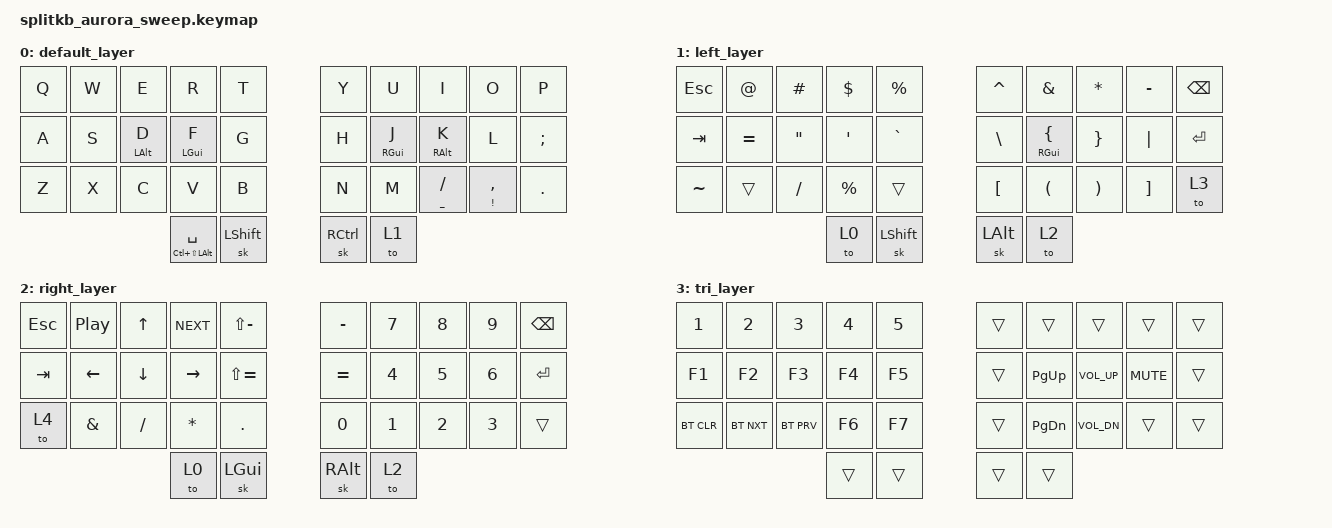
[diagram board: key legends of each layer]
/*
 * Copyright (c) 2022 The ZMK Contributors
 *
 * SPDX-License-Identifier: MIT
 */

#include <behaviors.dtsi>
#include <dt-bindings/zmk/keys.h>
#include <dt-bindings/zmk/bt.h>


&mt {
    flavor = "tap-preferred";
    tapping_term_ms = <200>;
};

/ {
    behaviors {
        hm: homerow_mods {
            compatible = "zmk,behavior-hold-tap";
            label = "HOMEROW_MODS";
            #binding-cells = <2>;
            tapping-term-ms = <200>;
            quick_tap_ms = <0>;
            flavor = "tap-preferred";
            bindings = <&kp>, <&kp>;
        };
        td: tapdance {
            compatible = "zmk,behavior-hold-tap";
            label = "TAPDANCE";
            #binding-cells = <2>;
            tapping-term-ms = <150>;
            quick_tap_ms = <0>;
            flavor = "tap-preferred";
            bindings = <&kp>, <&kp>;
        };
    };

    combos {
        compatible = "zmk,combos";
        combo_esc {
            timeout-ms = <50>;
            key-positions = <0 1>;
            bindings = <&kp ESC>;
        };

        combo_tab {
            timeout-ms = <50>;
            key-positions = <10 11>;
            bindings = <&kp TAB>;
        };

        combo_ralt {
            timeout-ms = <50>;
            key-positions = <17 16>;
            bindings = <&kp RALT>;
        };

        combo_lalt {
            timeout-ms = <50>;
            key-positions = <11 12>;
            bindings = <&kp LALT>;
        };

        combo_lgui {
            timeout-ms = <50>;
            key-positions = <12 13>;
            bindings = <&kp LGUI>;
        };


        combo_rgui {
            timeout-ms = <50>;
            key-positions = <17 18>;
            bindings = <&kp RGUI>;
        };



    };

        keymap {
            compatible = "zmk,keymap";

            default_layer {
        bindings = <
        //╭──────────┬──────────┬──────────┬──────────┬──────────╮   ╭──────────┬──────────┬────────────────────┬──────────────┬───────────────╮
        //│  Q       │  W       │  E       │  R       │  T       │   │  Y       │  U       │         I          │      O       │       P       │
            &kp Q      &kp W      &kp E      &kp R      &kp T          &kp Y      &kp U             &kp I             &kp O      &kp P
        //├──────────┼──────────┼──────────┼──────────┼──────────┤   ├──────────┼──────────┼────────────────────┼──────────────┼───────────────┤
        //│  A       │  S       │  ALT  D  │  GUI  F  │  G       │   │  H       │  GUI  J  │       ALT  K       │      L       │     ;         │
            &kp A      &kp S     &hm LALT D &hm LGUI F  &kp G          &kp H     &hm RGUI J       &hm RALT K          &kp L      &kp SEMICOLON
        //├──────────┼──────────┼──────────┼──────────┼──────────┤   ├──────────┼──────────┼────────────────────┼──────────────┼───────────────┤
        //│  Z       │  X       │  C       │    V     │    B     │   │    N     │    M     │      _ /           │    !  ,  <   │      . >      │
            &kp Z      &kp X      &kp C      &kp V      &kp B          &kp N      &kp M     &td UNDERSCORE SLASH &td EXCL COMMA     &kp DOT
        //╰──────────┴──────────┴──────────┴──────────┼──────────┤   ├──────────┼──────────┼────────────────────┴──────────────┴───────────────╯
        //                      │          MEH        │  SHIFT   │   │  Control │ Layer 1 │
                                &mt LC(LS(LALT)) SPACE &sk LSHIFT      &sk RCTRL   &to 1
        //                      ╰─────────────────────┴──────────╯   ╰──────────┴──────────╯
        >;
        };

            left_layer {
        bindings = <
        //╭──────────┬──────────┬──────────┬──────────┬──────────╮   ╭──────────┬──────────┬────────────┬──────────────┬───────────────╮
        //│  ESC     │    @     │    #     │    $     │     %    │   │    ^     │    &     │     *      │       -      │   Backspace   │
           &kp ESC      &kp AT   &kp POUND  &kp DOLLAR &kp PRCNT       &kp CARET  &kp AMPS    &kp STAR      &kp MINUS       &kp BSPC
        //├──────────┼──────────┼──────────┼──────────┼──────────┤   ├──────────┼──────────┼────────────┼──────────────┼───────────────┤
        //│   Tab    │    =     │    "     │     '    │    `     │   │    \     │    {     │     }      │       |      │     Enter     │
            &kp TAB   &kp EQUAL   &kp DQT    &kp SQT    &kp GRAVE      &kp BSLH &hm RGUI LBRC  &kp RBRC       &kp PIPE       &kp ENTER
        //├──────────┼──────────┼──────────┼──────────┼──────────┤   ├──────────┼──────────┼────────────┼──────────────┼───────────────┤
        //│    ~     │     X    │    /     │    %     │    V     │   │     [    │    (     │      )     │       ]      │    Layer 3    │
            &kp TILDE   &trans    &kp SLASH  &kp PRCNT   &trans        &kp LBKT   &kp LPRN    &kp RPRN      &kp RBKT        &to 3
        //╰──────────┴──────────┴──────────┴──────────┼──────────┤   ├──────────┼──────────┼────────────┴──────────────┴───────────────╯
        //                      │    Default layer    │  SHIFT   │   │   ALT    │ Layer 2 │
                                         &to 0         &sk LSHIFT      &sk LALT    &to 2
        //                      ╰─────────────────────┴──────────╯   ╰──────────┴──────────╯
        >;
        };

            right_layer {
        bindings = <
        &kp ESC  &kp C_PP &kp UP  &kp C_NEXT  &kp LS(MINUS)                &kp MINUS  &kp N7 &kp N8 &kp N9 &kp BSPC
        &kp TAB  &kp LEFT   &kp DOWN  &kp RIGHT  &kp LS(EQUAL)             &kp EQUAL &kp N4  &kp N5  &kp N6   &kp ENTER
        &to 4  &kp AMPS &kp SLASH &kp STAR &kp DOT                         &kp N0 &kp N1 &kp N2 &kp N3  &trans
                                        &to 0 &sk LGUI                     &sk RALT  &to 2 

        >;
        };

            tri_layer {
        bindings = <
        &kp NUM_1  &kp NUM_2    &kp NUM_3    &kp NUM_4    &kp NUM_5             &trans &trans   &trans   &trans  &trans
        &kp F1 &kp F2 &kp F3 &kp F4 &kp F5                          &trans &kp PG_UP  &kp K_VOL_UP &kp K_MUTE &trans
        &bt BT_CLR  &bt BT_NXT &bt BT_PRV &kp F6 &kp F7                 &trans &kp PG_DN  &kp K_VOL_DN  &trans &trans
                            &trans &trans                      &trans &trans
        >;
        };

    };
};
